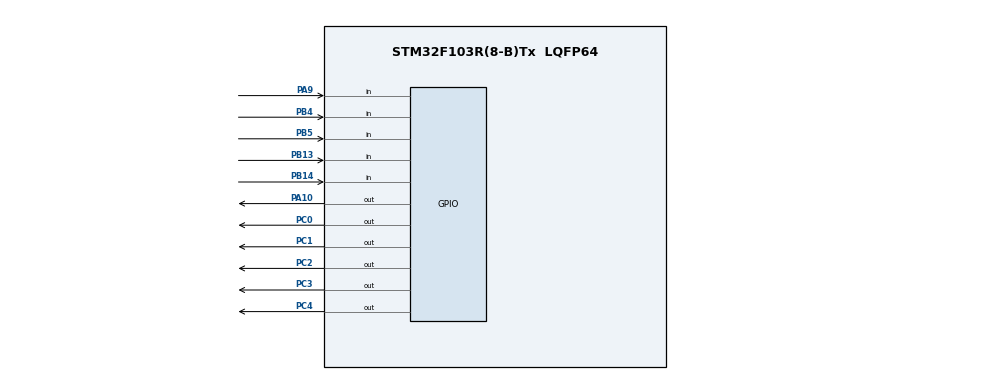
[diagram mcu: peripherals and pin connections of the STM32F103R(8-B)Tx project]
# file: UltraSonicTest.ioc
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Mcu.Family=STM32F1
PC2.Signal=GPIO_Output
PC4.Signal=GPIO_Output
PC0.Signal=GPIO_Output
PB13.Signal=GPIO_Input
ProjectManager.StackSize=0x400
PA13.Signal=SYS_JTMS-SWDIO
ProjectManager.TargetToolchain=STM32CubeIDE
PA9.Signal=GPIO_Input
PC3.Signal=GPIO_Output
PB14.Signal=GPIO_Input
board=custom
RCC.APB2Freq_Value=8000000
PA14.Mode=Serial_Wire
PA13.Mode=Serial_Wire
Mcu.Name=STM32F103R(8-B)Tx
Mcu.Package=LQFP64
PB5.Signal=GPIO_Input
PA10.Signal=GPIO_Output
PA14.Signal=SYS_JTCK-SWCLK
ProjectManager.HeapSize=0x200
NVIC.PriorityGroup=NVIC_PRIORITYGROUP_4
RCC.APB1Freq_Value=8000000
PC1.Signal=GPIO_Output
PB4.Signal=GPIO_Input

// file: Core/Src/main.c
/* USER CODE BEGIN Header */
/**
 ******************************************************************************
 * @file           : main.c
 * @brief          : Main program body
 ******************************************************************************
 * @attention
 *
 * <h2><center>&copy; Copyright (c) 2021 STMicroelectronics.
 * All rights reserved.</center></h2>
 *
 * This software component is licensed by ST under BSD 3-Clause license,
 * the "License"; You may not use this file except in compliance with the
 * License. You may obtain a copy of the License at:
 *                        opensource.org/licenses/BSD-3-Clause
 *
 ******************************************************************************
 */
/* USER CODE END Header */
#include "main.h"

void SystemClock_Config(void);
static void MX_GPIO_Init(void);
/* USER CODE BEGIN PFP */
void Delay(uint32_t count);
/* USER CODE END PFP */

int main(void) {

	/* MCU Configuration--------------------------------------------------------*/

	/* Reset of all peripherals, Initializes the Flash interface and the Systick. */
	HAL_Init();

	/* Configure the system clock */
	SystemClock_Config();

	/* Initialize all configured peripherals */
	MX_GPIO_Init();
	/* USER CODE BEGIN 2 */
	uint8_t status = 0;
	uint32_t distance = 0;
	/* USER CODE END 2 */

	/* Infinite loop */
	/* USER CODE BEGIN WHILE */
	while (1) {
		HAL_GPIO_WritePin(GPIOC, GPIO_PIN_3, GPIO_PIN_SET);
		HAL_Delay(0.001);
		HAL_GPIO_WritePin(GPIOC, GPIO_PIN_3, GPIO_PIN_RESET);
		HAL_Delay(0.01);

		if (HAL_GPIO_ReadPin(GPIOB, GPIO_PIN_13)) {
			status = 1;

			while (status == 1) {
				Delay(10);
				//HAL_Delay(1);
				if (HAL_GPIO_ReadPin(GPIOB, GPIO_PIN_13)) {
					distance++;
				} else {
					status = 0;
				}
			}
		}
//		if(distance<10)
//		{
//			HAL_GPIO_WritePin(GPIOC, GPIO_PIN_4, GPIO_PIN_SET);
//		}else{
//			HAL_GPIO_WritePin(GPIOC, GPIO_PIN_4, GPIO_PIN_RESET);
//		}
//		HAL_Delay(2000);
		distance = 0;

		/* USER CODE END WHILE */

	}
}

void SystemClock_Config(void) {
	RCC_OscInitTypeDef RCC_OscInitStruct = { 0 };
	RCC_ClkInitTypeDef RCC_ClkInitStruct = { 0 };

	/** Initializes the RCC Oscillators according to the specified parameters
	 * in the RCC_OscInitTypeDef structure.
	 */
	RCC_OscInitStruct.OscillatorType = RCC_OSCILLATORTYPE_HSI;
	RCC_OscInitStruct.HSIState = RCC_HSI_ON;
	RCC_OscInitStruct.HSICalibrationValue = RCC_HSICALIBRATION_DEFAULT;
	RCC_OscInitStruct.PLL.PLLState = RCC_PLL_NONE;
	if (HAL_RCC_OscConfig(&RCC_OscInitStruct) != HAL_OK) {
		Error_Handler();
	}
	/** Initializes the CPU, AHB and APB buses clocks
	 */
	RCC_ClkInitStruct.ClockType = RCC_CLOCKTYPE_HCLK | RCC_CLOCKTYPE_SYSCLK
			| RCC_CLOCKTYPE_PCLK1 | RCC_CLOCKTYPE_PCLK2;
	RCC_ClkInitStruct.SYSCLKSource = RCC_SYSCLKSOURCE_HSI;
	RCC_ClkInitStruct.AHBCLKDivider = RCC_SYSCLK_DIV1;
	RCC_ClkInitStruct.APB1CLKDivider = RCC_HCLK_DIV1;
	RCC_ClkInitStruct.APB2CLKDivider = RCC_HCLK_DIV1;

	if (HAL_RCC_ClockConfig(&RCC_ClkInitStruct, FLASH_LATENCY_0) != HAL_OK) {
		Error_Handler();
	}
}

static void MX_GPIO_Init(void) {
	GPIO_InitTypeDef GPIO_InitStruct = { 0 };

	/* GPIO Ports Clock Enable */
	__HAL_RCC_GPIOC_CLK_ENABLE();
	__HAL_RCC_GPIOB_CLK_ENABLE();
	__HAL_RCC_GPIOA_CLK_ENABLE();

	/*Configure GPIO pin Output Level */
	HAL_GPIO_WritePin(GPIOC,
			GPIO_PIN_0 | GPIO_PIN_1 | GPIO_PIN_2 | GPIO_PIN_3 | GPIO_PIN_4,
			GPIO_PIN_RESET);

	/*Configure GPIO pin Output Level */
	HAL_GPIO_WritePin(GPIOA, GPIO_PIN_10, GPIO_PIN_RESET);

	/*Configure GPIO pins : PC0 PC1 PC2 PC3
	 PC4 */
	GPIO_InitStruct.Pin = GPIO_PIN_0 | GPIO_PIN_1 | GPIO_PIN_2 | GPIO_PIN_3
			| GPIO_PIN_4;
	GPIO_InitStruct.Mode = GPIO_MODE_OUTPUT_PP;
	GPIO_InitStruct.Pull = GPIO_NOPULL;
	GPIO_InitStruct.Speed = GPIO_SPEED_FREQ_LOW;
	HAL_GPIO_Init(GPIOC, &GPIO_InitStruct);

	/*Configure GPIO pins : PB13 PB14 PB4 PB5 */
	GPIO_InitStruct.Pin = GPIO_PIN_13 | GPIO_PIN_14 | GPIO_PIN_4 | GPIO_PIN_5;
	GPIO_InitStruct.Mode = GPIO_MODE_INPUT;
	GPIO_InitStruct.Pull = GPIO_NOPULL;
	HAL_GPIO_Init(GPIOB, &GPIO_InitStruct);

	/*Configure GPIO pin : PA9 */
	GPIO_InitStruct.Pin = GPIO_PIN_9;
	GPIO_InitStruct.Mode = GPIO_MODE_INPUT;
	GPIO_InitStruct.Pull = GPIO_NOPULL;
	HAL_GPIO_Init(GPIOA, &GPIO_InitStruct);

	/*Configure GPIO pin : PA10 */
	GPIO_InitStruct.Pin = GPIO_PIN_10;
	GPIO_InitStruct.Mode = GPIO_MODE_OUTPUT_PP;
	GPIO_InitStruct.Pull = GPIO_NOPULL;
	GPIO_InitStruct.Speed = GPIO_SPEED_FREQ_LOW;
	HAL_GPIO_Init(GPIOA, &GPIO_InitStruct);

}

/* USER CODE BEGIN 4 */
void Delay(uint32_t count) {
	for (int i = 0; i < count; i++) {

	}
}
/* USER CODE END 4 */

void Error_Handler(void) {
	__disable_irq();
	while (1) {
	}
}

/************************ (C) COPYRIGHT STMicroelectronics *****END OF FILE****/
